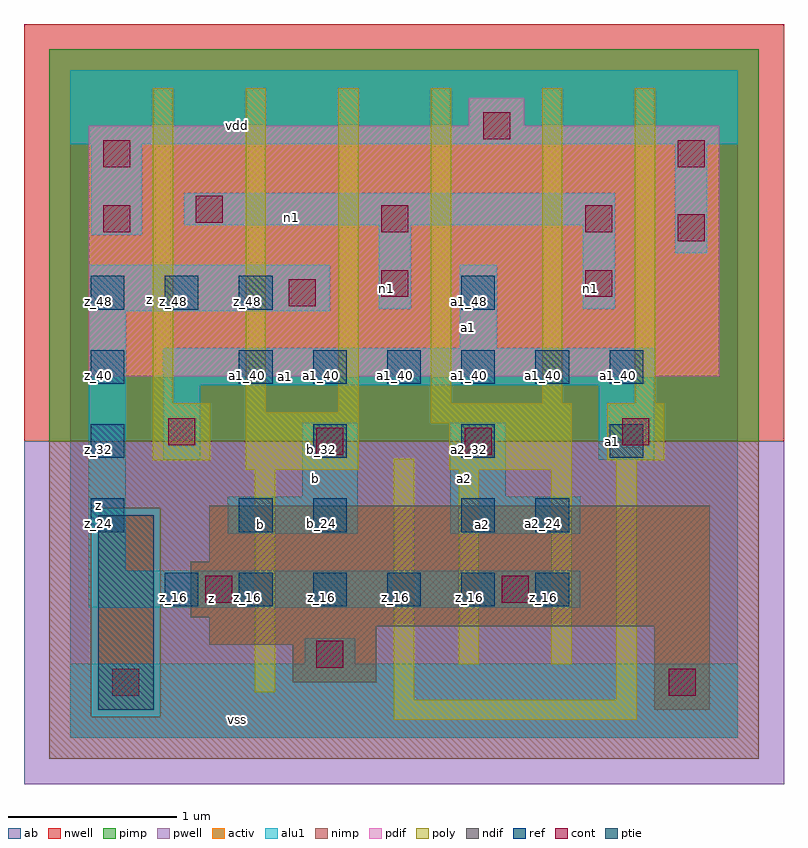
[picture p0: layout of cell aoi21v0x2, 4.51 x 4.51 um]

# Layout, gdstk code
import gdstk
lib = gdstk.Library(unit=1e-6, precision=2.5e-09)
def R(c, l, rs):  # rectangles x0, y0, x1, y1
    for r in rs: c.add(gdstk.rectangle(r[:2], r[2:], *l))
def A(c, l, x, y, w, h, nx, ny, dx, dy):  # array of equal rectangles
    R(c, l, [(x+i*dx, y+j*dy, x+i*dx+w, y+j*dy+h) for i in range(nx) for j in range(ny)])
ndif = (3, 0)
pdif = (4, 0)
ptie = (6, 0)
ref = (24, 0)
cont = (25, 0)
pwell = (41, 0)
nwell = (42, 0)
activ = (43, 0)
pimp = (44, 0)
nimp = (45, 0)
poly = (46, 0)
alu1 = (49, 0)
ab = (63, 0)

aoi21v0x2 = lib.new_cell('aoi21v0x2')
R(aoi21v0x2, ndif, [(3.465,0.165,3.795,0.66), (1.32,0.33,1.815,0.55), (0.825,0.55,1.815,0.66), (0.825,0.66,3.795,0.715), (0.715,0.715,3.795,1.045), (0.825,1.045,3.795,1.375)])
R(aoi21v0x2, pdif, [(0.11,2.145,3.85,3.63), (2.365,3.63,2.695,3.795)])
R(aoi21v0x2, ptie, [(0.165,0.165,0.495,1.32)])
A(aoi21v0x2, ref, 0.56, 0.78, 0.2, 0.2, 6, 1, 0.44, 0)
A(aoi21v0x2, ref, 0.12, 1.22, 0.2, 0.2, 1, 3, 0, 0.44)
A(aoi21v0x2, ref, 1.44, 1.66, 0.2, 0.2, 3, 1, 0.88, 0)
A(aoi21v0x2, ref, 1, 2.1, 0.2, 0.2, 6, 1, 0.44, 0)
A(aoi21v0x2, ref, 0.12, 2.54, 0.2, 0.2, 3, 1, 0.44, 0)
R(aoi21v0x2, ref, [(1,1.22,1.2,1.42), (1.44,1.22,1.64,1.42), (2.32,1.22,2.52,1.42), (2.76,1.22,2.96,1.42), (2.32,2.54,2.52,2.74)])
R(aoi21v0x2, cont, [(0.25,0.25,0.41,0.41), (3.55,0.25,3.71,0.41), (1.46,0.415,1.62,0.575), (0.8,0.8,0.96,0.96), (2.56,0.8,2.72,0.96), (1.46,1.68,1.62,1.84), (2.34,1.68,2.5,1.84), (0.58,1.735,0.74,1.895), (3.275,1.735,3.435,1.895), (1.295,2.56,1.455,2.72), (1.845,2.615,2.005,2.775), (3.055,2.615,3.215,2.775), (3.605,2.945,3.765,3.105), (0.195,3,0.355,3.16), (1.845,3,2.005,3.16), (3.055,3,3.215,3.16), (0.745,3.055,0.905,3.215), (0.195,3.385,0.355,3.545), (3.605,3.385,3.765,3.545), (2.45,3.55,2.61,3.71)])
R(aoi21v0x2, pwell, [(-0.275,-0.275,4.235,1.76)])
R(aoi21v0x2, nwell, [(-0.275,1.76,4.235,4.235)])
R(aoi21v0x2, activ, [(0.165,0.165,0.495,1.32), (3.465,0.165,3.795,0.66), (1.32,0.33,1.815,0.55), (0.825,0.55,1.815,0.66), (0.825,0.66,3.795,0.715), (0.715,0.715,3.795,1.045), (0.825,1.045,3.795,1.375), (0.11,2.145,3.85,3.63), (2.365,3.63,2.695,3.795)])
R(aoi21v0x2, pimp, [(0.125,0.125,0.535,1.36), (-0.125,1.76,4.085,4.085)])
R(aoi21v0x2, nimp, [(-0.125,-0.125,4.085,0.125), (-0.125,0.125,0.125,1.36), (0.535,0.125,4.085,1.36), (-0.125,1.36,4.085,1.76)])
R(aoi21v0x2, poly, [(1.92,0.105,3.36,0.225), (1.92,0.225,2.04,1.655), (3.24,0.225,3.36,1.645), (1.095,0.27,1.215,1.59), (2.305,0.435,2.425,1.59), (2.855,0.435,2.975,1.59), (1.04,1.59,1.71,1.93), (2.25,1.59,2.975,1.865), (0.49,1.645,0.83,1.985), (3.185,1.645,3.525,1.985), (2.14,1.865,2.975,1.985), (1.04,1.93,1.16,3.855), (1.59,1.93,1.71,3.855), (0.49,1.985,0.61,3.855), (2.14,1.985,2.26,3.855), (2.8,1.985,2.92,3.855), (3.35,1.985,3.47,3.855)])
R(aoi21v0x2, alu1, [(0,0,3.96,0.44), (1.39,0.44,1.69,0.59), (0.11,0.77,3.025,0.99), (0.11,0.99,0.33,2.53), (0.935,1.21,1.705,1.43), (2.255,1.21,3.025,1.43), (1.375,1.43,1.705,1.87), (2.255,1.43,2.585,1.87), (0.55,1.65,0.77,2.09), (3.135,1.65,3.465,2.09), (0.55,2.09,3.465,2.31), (2.31,2.31,2.53,2.805), (0.11,2.53,1.54,2.805), (1.83,2.545,2.02,3.04), (3.04,2.545,3.23,3.04), (3.59,2.875,3.78,3.52), (0.125,2.985,0.425,3.52), (0.675,3.04,3.23,3.23), (0,3.52,3.96,3.96)])
R(aoi21v0x2, ab, [(0,0,3.96,3.96)])
aoi21v0x2.add(gdstk.Label('vss', (0.99,0.11), layer=49, texttype=0))
aoi21v0x2.add(gdstk.Label('z', (0.8375,0.825), layer=49, texttype=0))
aoi21v0x2.add(gdstk.Label('a2', (2.4475,1.265), layer=49, texttype=0))
aoi21v0x2.add(gdstk.Label('a1', (3.2175,1.76), layer=49, texttype=0))
aoi21v0x2.add(gdstk.Label('a2', (2.3375,1.54), layer=49, texttype=0))
aoi21v0x2.add(gdstk.Label('b', (1.1275,1.265), layer=49, texttype=0))
aoi21v0x2.add(gdstk.Label('b', (1.4575,1.54), layer=49, texttype=0))
aoi21v0x2.add(gdstk.Label('a1', (1.2775,2.145), layer=49, texttype=0))
aoi21v0x2.add(gdstk.Label('n1', (3.0875,2.6675), layer=49, texttype=0))
aoi21v0x2.add(gdstk.Label('a1', (2.365,2.4325), layer=49, texttype=0))
aoi21v0x2.add(gdstk.Label('z', (0.165,1.375), layer=49, texttype=0))
aoi21v0x2.add(gdstk.Label('n1', (1.8775,2.6675), layer=49, texttype=0))
aoi21v0x2.add(gdstk.Label('z', (0.4675,2.5975), layer=49, texttype=0))
aoi21v0x2.add(gdstk.Label('n1', (1.3125,3.0875), layer=49, texttype=0))
aoi21v0x2.add(gdstk.Label('vdd', (0.99,3.63), layer=49, texttype=0))
aoi21v0x2.add(gdstk.Label('z_16', (0.61,0.83), layer=24, texttype=0))
aoi21v0x2.add(gdstk.Label('z_48', (0.61,2.59), layer=24, texttype=0))
aoi21v0x2.add(gdstk.Label('z_16', (1.05,0.83), layer=24, texttype=0))
aoi21v0x2.add(gdstk.Label('b_24', (1.05,1.27), layer=24, texttype=0))
aoi21v0x2.add(gdstk.Label('a1_40', (1.05,2.15), layer=24, texttype=0))
aoi21v0x2.add(gdstk.Label('z_48', (1.05,2.59), layer=24, texttype=0))
aoi21v0x2.add(gdstk.Label('z_16', (1.49,0.83), layer=24, texttype=0))
aoi21v0x2.add(gdstk.Label('b_24', (1.49,1.27), layer=24, texttype=0))
aoi21v0x2.add(gdstk.Label('b_32', (1.49,1.71), layer=24, texttype=0))
aoi21v0x2.add(gdstk.Label('a1_40', (1.49,2.15), layer=24, texttype=0))
aoi21v0x2.add(gdstk.Label('z_16', (1.93,0.83), layer=24, texttype=0))
aoi21v0x2.add(gdstk.Label('a1_40', (1.93,2.15), layer=24, texttype=0))
aoi21v0x2.add(gdstk.Label('z_24', (0.17,1.27), layer=24, texttype=0))
aoi21v0x2.add(gdstk.Label('z_32', (0.17,1.71), layer=24, texttype=0))
aoi21v0x2.add(gdstk.Label('z_40', (0.17,2.15), layer=24, texttype=0))
aoi21v0x2.add(gdstk.Label('z_48', (0.17,2.59), layer=24, texttype=0))
aoi21v0x2.add(gdstk.Label('z_16', (2.37,0.83), layer=24, texttype=0))
aoi21v0x2.add(gdstk.Label('a2_24', (2.37,1.27), layer=24, texttype=0))
aoi21v0x2.add(gdstk.Label('a2_32', (2.37,1.71), layer=24, texttype=0))
aoi21v0x2.add(gdstk.Label('a1_40', (2.37,2.15), layer=24, texttype=0))
aoi21v0x2.add(gdstk.Label('a1_48', (2.37,2.59), layer=24, texttype=0))
aoi21v0x2.add(gdstk.Label('z_16', (2.81,0.83), layer=24, texttype=0))
aoi21v0x2.add(gdstk.Label('a2_24', (2.81,1.27), layer=24, texttype=0))
aoi21v0x2.add(gdstk.Label('a1_40', (2.81,2.15), layer=24, texttype=0))
aoi21v0x2.add(gdstk.Label('a1_32', (3.25,1.71), layer=24, texttype=0))
aoi21v0x2.add(gdstk.Label('a1_40', (3.25,2.15), layer=24, texttype=0))

lib.write_gds('aoi21v0x2.gds')
